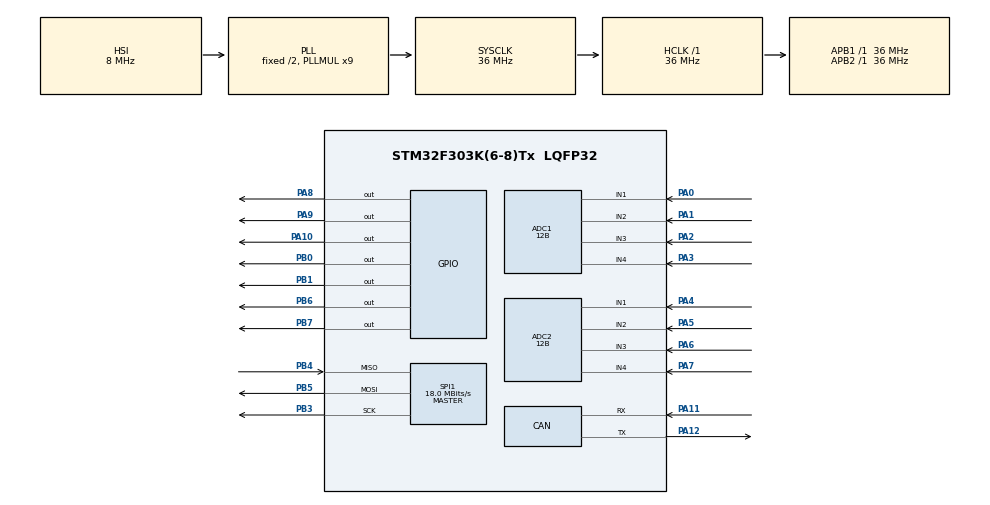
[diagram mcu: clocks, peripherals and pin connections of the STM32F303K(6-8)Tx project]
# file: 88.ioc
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ADC1.Channel-0\#ChannelRegularConversion=ADC_CHANNEL_1
ADC1.ClockPrescaler=ADC_CLOCK_SYNC_PCLK_DIV2
ADC1.ContinuousConvMode=DISABLE
ADC1.DMAContinuousRequests=DISABLE
ADC1.DataAlign=ADC_DATAALIGN_RIGHT
ADC1.DiscontinuousConvMode=DISABLE
ADC1.EOCSelection=ADC_EOC_SINGLE_CONV
ADC1.EnableAnalogWatchDog1=false
ADC1.EnableAnalogWatchDog2=false
ADC1.EnableAnalogWatchDog3=false
ADC1.EnableInjectedConversion=ENABLE
ADC1.EnableRegularConversion=ENABLE
ADC1.ExternalTrigConv=ADC_SOFTWARE_START
ADC1.ExternalTrigConvEdge=ADC_EXTERNALTRIGCONVEDGE_NONE
ADC1.ExternalTrigInjecConv=ADC_INJECTED_SOFTWARE_START
ADC1.ExternalTrigInjecConvEdge=ADC_EXTERNALTRIGINJECCONV_EDGE_NONE
ADC1.InjNumberOfConversion=4
ADC1.InjectedChannel-4\#ChannelInjectedConversion=ADC_CHANNEL_1
ADC1.InjectedChannel-5\#ChannelInjectedConversion=ADC_CHANNEL_2
ADC1.InjectedChannel-6\#ChannelInjectedConversion=ADC_CHANNEL_3
ADC1.InjectedChannel-8\#ChannelInjectedConversion=ADC_CHANNEL_4
ADC1.InjectedConvMode=None
ADC1.InjectedOffset-4\#ChannelInjectedConversion=0
ADC1.InjectedOffset-5\#ChannelInjectedConversion=0
ADC1.InjectedOffset-6\#ChannelInjectedConversion=0
ADC1.InjectedOffset-8\#ChannelInjectedConversion=0
ADC1.InjectedOffsetNumber-4\#ChannelInjectedConversion=ADC_OFFSET_NONE
ADC1.InjectedOffsetNumber-5\#ChannelInjectedConversion=ADC_OFFSET_NONE
ADC1.InjectedOffsetNumber-6\#ChannelInjectedConversion=ADC_OFFSET_NONE
ADC1.InjectedOffsetNumber-8\#ChannelInjectedConversion=ADC_OFFSET_NONE
ADC1.InjectedRank-4\#ChannelInjectedConversion=1
ADC1.InjectedRank-5\#ChannelInjectedConversion=2
ADC1.InjectedRank-6\#ChannelInjectedConversion=3
ADC1.InjectedRank-8\#ChannelInjectedConversion=4
ADC1.InjectedSamplingTime-4\#ChannelInjectedConversion=ADC_SAMPLETIME_1CYCLE_5
ADC1.InjectedSamplingTime-5\#ChannelInjectedConversion=ADC_SAMPLETIME_1CYCLE_5
ADC1.InjectedSamplingTime-6\#ChannelInjectedConversion=ADC_SAMPLETIME_1CYCLE_5
ADC1.InjectedSamplingTime-8\#ChannelInjectedConversion=ADC_SAMPLETIME_1CYCLE_5
ADC1.LowPowerAutoWait=DISABLE
ADC1.NbrOfConversion=1
ADC1.NbrOfConversionFlag=1
ADC1.Offset-0\#ChannelRegularConversion=0
ADC1.OffsetNumber-0\#ChannelRegularConversion=ADC_OFFSET_NONE
ADC1.Overrun=ADC_OVR_DATA_OVERWRITTEN
ADC1.QueueInjectedContext=DISABLE
ADC1.Rank-0\#ChannelRegularConversion=1
ADC1.Resolution=ADC_RESOLUTION_12B
ADC1.SamplingTime-0\#ChannelRegularConversion=ADC_SAMPLETIME_1CYCLE_5
ADC1.ScanConvMode=ADC_SCAN_ENABLE
ADC1.SubFamily=STM32F303x8
ADC1.master=1
ADC2.Channel-0\#ChannelRegularConversion=ADC_CHANNEL_1
ADC2.ClockPrescaler=ADC_CLOCK_SYNC_PCLK_DIV2
ADC2.ContinuousConvMode=DISABLE
ADC2.DMAContinuousRequests=DISABLE
ADC2.DataAlign=ADC_DATAALIGN_RIGHT
ADC2.DiscontinuousConvMode=DISABLE
ADC2.EOCSelection=ADC_EOC_SINGLE_CONV
ADC2.EnableAnalogWatchDog1=false
ADC2.EnableAnalogWatchDog2=false
ADC2.EnableAnalogWatchDog3=false
ADC2.EnableInjectedConversion=ENABLE
ADC2.EnableRegularConversion=ENABLE
ADC2.ExternalTrigConv=ADC_SOFTWARE_START
ADC2.ExternalTrigConvEdge=ADC_EXTERNALTRIGCONVEDGE_NONE
ADC2.ExternalTrigInjecConv=ADC_INJECTED_SOFTWARE_START
ADC2.ExternalTrigInjecConvEdge=ADC_EXTERNALTRIGINJECCONV_EDGE_NONE
ADC2.InjNumberOfConversion=4
ADC2.InjectedChannel-1\#ChannelInjectedConversion=ADC_CHANNEL_1
ADC2.InjectedChannel-2\#ChannelInjectedConversion=ADC_CHANNEL_2
ADC2.InjectedChannel-3\#ChannelInjectedConversion=ADC_CHANNEL_3
ADC2.InjectedChannel-5\#ChannelInjectedConversion=ADC_CHANNEL_4
ADC2.InjectedConvMode=None
ADC2.InjectedOffset-1\#ChannelInjectedConversion=0
ADC2.InjectedOffset-2\#ChannelInjectedConversion=0
ADC2.InjectedOffset-3\#ChannelInjectedConversion=0
ADC2.InjectedOffset-5\#ChannelInjectedConversion=0
ADC2.InjectedOffsetNumber-1\#ChannelInjectedConversion=ADC_OFFSET_NONE
ADC2.InjectedOffsetNumber-2\#ChannelInjectedConversion=ADC_OFFSET_NONE
ADC2.InjectedOffsetNumber-3\#ChannelInjectedConversion=ADC_OFFSET_NONE
ADC2.InjectedOffsetNumber-5\#ChannelInjectedConversion=ADC_OFFSET_NONE
ADC2.InjectedRank-1\#ChannelInjectedConversion=1
ADC2.InjectedRank-2\#ChannelInjectedConversion=2
ADC2.InjectedRank-3\#ChannelInjectedConversion=3
ADC2.InjectedRank-5\#ChannelInjectedConversion=4
ADC2.InjectedSamplingTime-1\#ChannelInjectedConversion=ADC_SAMPLETIME_1CYCLE_5
ADC2.InjectedSamplingTime-2\#ChannelInjectedConversion=ADC_SAMPLETIME_1CYCLE_5
ADC2.InjectedSamplingTime-3\#ChannelInjectedConversion=ADC_SAMPLETIME_1CYCLE_5
ADC2.InjectedSamplingTime-5\#ChannelInjectedConversion=ADC_SAMPLETIME_1CYCLE_5
ADC2.LowPowerAutoWait=DISABLE
ADC2.NbrOfConversion=1
ADC2.NbrOfConversionFlag=1
ADC2.Offset-0\#ChannelRegularConversion=0
ADC2.OffsetNumber-0\#ChannelRegularConversion=ADC_OFFSET_NONE
ADC2.Overrun=ADC_OVR_DATA_OVERWRITTEN
ADC2.QueueInjectedContext=DISABLE
ADC2.Rank-0\#ChannelRegularConversion=1
ADC2.Resolution=ADC_RESOLUTION_12B
ADC2.SamplingTime-0\#ChannelRegularConversion=ADC_SAMPLETIME_1CYCLE_5
ADC2.ScanConvMode=ADC_SCAN_ENABLE
ADC2.SubFamily=STM32F303x8
CAN.CalculateTimeQuantum=444.44444444444446
Mcu.Family=STM32F3
Mcu.Name=STM32F303K(6-8)Tx
Mcu.Package=LQFP32
NVIC.PriorityGroup=NVIC_PRIORITYGROUP_4
PA0.Mode=IN1-Single-Ended
PA0.Signal=ADC1_IN1
PA1.Mode=IN2-Single-Ended
PA1.Signal=ADC1_IN2
PA10.Signal=GPIO_Output
PA11.Mode=Master
PA11.Signal=CAN_RX
PA12.Mode=Master
PA12.Signal=CAN_TX
PA13.Mode=Serial_Wire
PA13.Signal=SYS_JTMS-SWDIO
PA14.Mode=Serial_Wire
PA14.Signal=SYS_JTCK-SWCLK
PA2.Mode=IN3-Single-Ended
PA2.Signal=ADC1_IN3
PA3.Mode=IN4-Single-Ended
PA3.Signal=ADC1_IN4
PA4.Mode=IN1-Single-Ended
PA4.Signal=ADC2_IN1
PA5.Mode=IN2-Single-Ended
PA5.Signal=ADC2_IN2
PA6.Mode=IN3-Single-Ended
PA6.Signal=ADC2_IN3
PA7.Mode=IN4-Single-Ended
PA7.Signal=ADC2_IN4
PA8.Signal=GPIO_Output
PA9.Signal=GPIO_Output
PB0.Signal=GPIO_Output
PB1.Signal=GPIO_Output
PB3.Mode=Full_Duplex_Master
PB3.Signal=SPI1_SCK
PB4.Mode=Full_Duplex_Master
PB4.Signal=SPI1_MISO
PB5.Mode=Full_Duplex_Master
PB5.Signal=SPI1_MOSI
PB6.Signal=GPIO_Output
PB7.Signal=GPIO_Output
PF0\ /\ OSC_IN.Mode=HSE-External-Clock-Source
PF0\ /\ OSC_IN.Signal=RCC_OSC_IN
ProjectManager.HeapSize=0x200
ProjectManager.StackSize=0x400
ProjectManager.TargetToolchain=MDK-ARM V5
RCC.AHBFreq_Value=36000000
RCC.APB1Freq_Value=36000000
RCC.APB1TimFreq_Value=36000000
RCC.APB2Freq_Value=36000000
RCC.APB2TimFreq_Value=36000000
RCC.CortexFreq_Value=36000000
RCC.HCLKFreq_Value=36000000
RCC.HSE_VALUE=8000000
RCC.HSI_VALUE=8000000
RCC.PLLMUL=RCC_PLL_MUL9
RCC.SYSCLKFreq_VALUE=36000000
RCC.SYSCLKSourceVirtual=RCC_SYSCLKSOURCE_PLLCLK
SPI1.BaudRatePrescaler=SPI_BAUDRATEPRESCALER_2
SPI1.CalculateBaudRate=18.0 MBits/s
SPI1.DataSize=SPI_DATASIZE_16BIT
SPI1.Direction=SPI_DIRECTION_2LINES
SPI1.Mode=SPI_MODE_MASTER
SPI1.VirtualType=VM_MASTER
VP_TIM1_VS_ClockSourceINT.Mode=Internal
VP_TIM2_VS_ClockSourceINT.Mode=Internal
board=custom

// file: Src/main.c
/**
  ******************************************************************************
  * @file           : main.c
  * @brief          : Main program body
  ******************************************************************************
  ** This notice applies to any and all portions of this file
  * that are not between comment pairs USER CODE BEGIN and
  * USER CODE END. Other portions of this file, whether
  * inserted by the user or by software development tools
  * are owned by their respective copyright owners.
  *
  * COPYRIGHT(c) 2018 STMicroelectronics
  *
  * Redistribution and use in source and binary forms, with or without modification,
  * are permitted provided that the following conditions are met:
  *   1. Redistributions of source code must retain the above copyright notice,
  *      this list of conditions and the following disclaimer.
  *   2. Redistributions in binary form must reproduce the above copyright notice,
  *      this list of conditions and the following disclaimer in the documentation
  *      and/or other materials provided with the distribution.
  *   3. Neither the name of STMicroelectronics nor the names of its contributors
  *      may be used to endorse or promote products derived from this software
  *      without specific prior written permission.
  *
  * THIS SOFTWARE IS PROVIDED BY THE COPYRIGHT HOLDERS AND CONTRIBUTORS "AS IS"
  * AND ANY EXPRESS OR IMPLIED WARRANTIES, INCLUDING, BUT NOT LIMITED TO, THE
  * IMPLIED WARRANTIES OF MERCHANTABILITY AND FITNESS FOR A PARTICULAR PURPOSE ARE
  * DISCLAIMED. IN NO EVENT SHALL THE COPYRIGHT HOLDER OR CONTRIBUTORS BE LIABLE
  * FOR ANY DIRECT, INDIRECT, INCIDENTAL, SPECIAL, EXEMPLARY, OR CONSEQUENTIAL
  * DAMAGES (INCLUDING, BUT NOT LIMITED TO, PROCUREMENT OF SUBSTITUTE GOODS OR
  * SERVICES; LOSS OF USE, DATA, OR PROFITS; OR BUSINESS INTERRUPTION) HOWEVER
  * CAUSED AND ON ANY THEORY OF LIABILITY, WHETHER IN CONTRACT, STRICT LIABILITY,
  * OR TORT (INCLUDING NEGLIGENCE OR OTHERWISE) ARISING IN ANY WAY OUT OF THE USE
  * OF THIS SOFTWARE, EVEN IF ADVISED OF THE POSSIBILITY OF SUCH DAMAGE.
  *
  ******************************************************************************
  */
#include "main.h"
#include "stm32f3xx_hal.h"

ADC_HandleTypeDef hadc1;
ADC_HandleTypeDef hadc2;

CAN_HandleTypeDef hcan;

SPI_HandleTypeDef hspi1;

TIM_HandleTypeDef htim1;
TIM_HandleTypeDef htim2;

/* USER CODE BEGIN PV */
/* Private variables ---------------------------------------------------------*/

/* USER CODE END PV */

void SystemClock_Config(void);
static void MX_GPIO_Init(void);
static void MX_ADC1_Init(void);
static void MX_ADC2_Init(void);
static void MX_TIM1_Init(void);
static void MX_CAN_Init(void);
static void MX_SPI1_Init(void);
static void MX_TIM2_Init(void);

void CS_SELECT1(void);
void CS_DESELECT1(void);
void Read_MAX318551(void);

void CS_SELECT2(void);
void CS_DESELECT2(void);
void Read_MAX318552(void);

void CS_SELECT3(void);
void CS_DESELECT3(void);
void Read_MAX318553(void);

void CS_SELECT4(void);
void CS_DESELECT4(void);
void Read_MAX318554(void);

/* USER CODE BEGIN PFP */
/* Private function prototypes -----------------------------------------------*/
static CanTxMsgTypeDef myTxMessage;

uint32_t v=0;
uint32_t v1=0;
uint32_t v2=0;
uint32_t v3=0;

long internal=0;
long centigrade=0;
long internal1=0;
long centigrade1=0;
long internal3=0;
long centigrade3=0;
long centigrade4=0;
long internal4=0;

uint16_t data1[4];
uint16_t data2[4];
uint16_t data3[4];
uint16_t data4[4];

float a[8]={0};

unsigned short number1;
unsigned short number;
unsigned short number3;
unsigned short number4;

char upper1;
char lower1;
char upper;
char lower;
char upper3;
char lower3;
char upper4;
char lower4;
/* USER CODE END PFP */

/* USER CODE BEGIN 0 */
void CS_SELECT1(void)
{
  HAL_GPIO_WritePin(GPIOB, GPIO_PIN_0, RESET); //b1
  HAL_GPIO_WritePin(GPIOB, GPIO_PIN_1, SET);   //b2
  HAL_GPIO_WritePin(GPIOB, GPIO_PIN_7, SET);   //b3
  HAL_GPIO_WritePin(GPIOB, GPIO_PIN_6, SET);   //b4
}

void CS_SELECT2(void)
{
  HAL_GPIO_WritePin(GPIOB, GPIO_PIN_0, SET);   //b1
  HAL_GPIO_WritePin(GPIOB, GPIO_PIN_1, RESET); //b2
  HAL_GPIO_WritePin(GPIOB, GPIO_PIN_7, SET);   //b3
  HAL_GPIO_WritePin(GPIOB, GPIO_PIN_6, SET);   //b4
}

void CS_SELECT3(void)
{
  HAL_GPIO_WritePin(GPIOB, GPIO_PIN_0, SET);   //b1
  HAL_GPIO_WritePin(GPIOB, GPIO_PIN_1, SET);   //b2
  HAL_GPIO_WritePin(GPIOB, GPIO_PIN_7, RESET); //b3
  HAL_GPIO_WritePin(GPIOB, GPIO_PIN_6, SET);   //b4
}

void CS_SELECT4(void)
{
  HAL_GPIO_WritePin(GPIOB, GPIO_PIN_0, SET);   //b1
  HAL_GPIO_WritePin(GPIOB, GPIO_PIN_1, SET);   //b2
  HAL_GPIO_WritePin(GPIOB, GPIO_PIN_7, SET);   //b3
  HAL_GPIO_WritePin(GPIOB, GPIO_PIN_6, RESET); //b4
}

void CS_DESELECT1(void)
{
  HAL_GPIO_WritePin(GPIOB, GPIO_PIN_0, SET);  //b1
}

void CS_DESELECT2(void)
{
  HAL_GPIO_WritePin(GPIOB, GPIO_PIN_1, SET); //b2
}

void CS_DESELECT3(void)
{
  HAL_GPIO_WritePin(GPIOB, GPIO_PIN_7, SET); //b3
}

void CS_DESELECT4(void)
{
  HAL_GPIO_WritePin(GPIOB, GPIO_PIN_6, SET); //b4
}

void Read_MAX318551(void)
{
  HAL_SPI_Receive(&hspi1, (uint8_t *)&data1[0], 4, 100);
}

void Read_MAX318552(void)
{
  HAL_SPI_Receive(&hspi1, (uint8_t *)&data2[0], 4, 100);
}

void Read_MAX318553(void)
{
  HAL_SPI_Receive(&hspi1, (uint8_t *)&data3[0], 4, 100);
}

void Read_MAX318554(void)
{
  HAL_SPI_Receive(&hspi1, (uint8_t *)&data4[0], 4, 100);
}
/* USER CODE END 0 */

int main(void)
{

  /* MCU Configuration----------------------------------------------------------*/

  /* Reset of all peripherals, Initializes the Flash interface and the Systick. */
  HAL_Init();

  /* Configure the system clock */
  SystemClock_Config();

  /* Initialize all configured peripherals */
  MX_GPIO_Init();
  MX_ADC1_Init();
  MX_ADC2_Init();
  MX_TIM1_Init();
  MX_CAN_Init();
  MX_SPI1_Init();
  MX_TIM2_Init();
  /* USER CODE BEGIN 2 */

  hcan.pTxMsg = &myTxMessage;
  myTxMessage.DLC = 4;
  myTxMessage.StdId = 0x234;
  myTxMessage.IDE = CAN_ID_STD;
	HAL_CAN_Transmit_IT(&hcan);

	myTxMessage.DLC = 8;
  myTxMessage.ExtId = 0x007;//0x14F00500;
  myTxMessage.IDE = CAN_ID_EXT;

  /* USER CODE END 2 */
  HAL_GPIO_WritePin(GPIOB, GPIO_PIN_0, SET);  //b1
  HAL_GPIO_WritePin(GPIOB, GPIO_PIN_1, SET); //b2
  HAL_GPIO_WritePin(GPIOB, GPIO_PIN_7, SET); //b3
  HAL_GPIO_WritePin(GPIOB, GPIO_PIN_6, SET); //b4
  /* Infinite loop */
  /* USER CODE BEGIN WHILE */
  while (1)
  {
  //1
	 CS_SELECT1();
	 HAL_Delay(5);
	 Read_MAX318551();
   HAL_Delay(5);
   CS_DESELECT1();
  //2
	 CS_SELECT2();
	 HAL_Delay(5);
	 Read_MAX318552();
   HAL_Delay(5);
   CS_DESELECT2();
  //3
	 CS_SELECT3();
	 HAL_Delay(5);
	 Read_MAX318553();
   HAL_Delay(5);
   CS_DESELECT3();
  //4
   CS_SELECT4();
   HAL_Delay(5);
   Read_MAX318554();
   HAL_Delay(5);
   CS_DESELECT4();

	      //DA1
 	  		  v1=(data1[0]<<16)|data1[1];
	  		  internal1 = (v1 >> 4) & 0x7FF;
	  	      internal1 *= 0.0625;
	  	      if ((v >> 4) & 0x800)
	  	      internal1 *= -1;
	  	      if (v & 0x80000000)
	  	      {
	  	        v = 0xFFFFC000 | ((v >> 18) & 0x00003FFFF);
	  	      }
	  		  else
	  		  {
	  			  v1 >>= 18;
	  		  }
	  		  centigrade1 = v1;
	  		  centigrade1 *= (-0.25);
	  		  if (centigrade1 < 0) {
				   centigrade1 = 0;
			  }
          //printf("ineternal: %f couple: %f . \r \n",internal,centigrade);

//DA2
	  	    v=(data2[0]<<16)|data2[1];
	  	    internal = (v >> 4) & 0x7FF;
	  	      internal *= 0.0625;
	  	      if ((v >> 4) & 0x800)
	  	    	  internal *= -1;
	  	      if (v & 0x80000000)
	  	      {
	  	        v = 0xFFFFC000 | ((v >> 18) & 0x00003FFFF);
	  	      }
	  	      else
	  	      {
	  	        v >>= 18;
	  	      }
	  	   centigrade = v;
	  	   centigrade *= (-0.25);
	  	   if (centigrade < 0) {
	  		   centigrade = 0;
	  	   }

           //printf("ineternal: %f couple: %f . \r \n",internal,centigrade);

//DA3
		  	    v2=(data3[0]<<16)|data3[1];
		  	    internal3 = (v2 >> 4) & 0x7FF;
		  	      internal3 *= 0.0625;
		  	      if ((v2 >> 4) & 0x800)
		  	      internal3 *= -1;
		  	      if (v2 & 0x80000000)
		  	      {
		  	        v2 = 0xFFFFC000 | ((v2 >> 18) & 0x00003FFFF);
		  	      }
		  	      else
		  	      {
		  	        v2 >>= 18;
		  	      }
		  	    centigrade3 = v2;
		  	    centigrade3 *= (-0.25);
		   	   if (centigrade3 < 0) {
		 	  		   centigrade3 = 0;
		 	  	   }
           //printf("ineternal: %f couple: %f . \r \n",internal,centigrade);

//DA4
		  	    v3=(data4[0]<<16)|data4[1];
				internal4 = (v3 >> 4) & 0x7FF;
				internal4 *= 0.0625;
				if ((v3 >> 4) & 0x800)
				  internal4 *= -1;
				if (v3 & 0x80000000)
				{
				  v3 = 0xFFFFC000 | ((v3 >> 18) & 0x00003FFFF);
				}
				  else
				{
				  v3 >>= 18;
				}
				  centigrade4 = v3;
				  centigrade4 *= (-0.25);
			   if (centigrade4 < 0) {
					   centigrade4 = 0;
				   }
        //printf("ineternal: %f couple: %f . \r \n",internal,centigrade);
				  HAL_Delay(500);
					//centigrade1
					 number1 = centigrade1;
				   upper1 = (char) (number1 >> 8);
           lower1 = (char) (number1 & 0xff);
					 HAL_Delay(5);
					//centigrade
					 number = centigrade1;
				   upper = (char) (number1 >> 8);
           lower = (char) (number1 & 0xff);
					 HAL_Delay(5);
					//centigrade3
					 number3 = centigrade1;
				   upper3 = (char) (number1 >> 8);
           lower3 = (char) (number1 & 0xff);
					 HAL_Delay(5);
					//centigrade4
					 number4 = centigrade1;
				   upper4 = (char) (number1 >> 8);
           lower4 = (char) (number1 & 0xff);
					 HAL_Delay(5);

					   myTxMessage.Data[0] = upper1;
	           myTxMessage.Data[1] = lower1;
	           myTxMessage.Data[2] = upper;
	           myTxMessage.Data[3] = lower;
	           myTxMessage.Data[4] = upper3;
	           myTxMessage.Data[5] = lower3;
	           myTxMessage.Data[6] = upper4;
	           myTxMessage.Data[7] = lower4;
					HAL_CAN_Transmit(&hcan, CAN_FIFO0);

  /* USER CODE END WHILE */

  }

}

void SystemClock_Config(void)
{

  RCC_OscInitTypeDef RCC_OscInitStruct;
  RCC_ClkInitTypeDef RCC_ClkInitStruct;
  RCC_PeriphCLKInitTypeDef PeriphClkInit;

    /**Initializes the CPU, AHB and APB busses clocks
    */
  RCC_OscInitStruct.OscillatorType = RCC_OSCILLATORTYPE_HSI;
  RCC_OscInitStruct.HSIState = RCC_HSI_ON;
  RCC_OscInitStruct.HSICalibrationValue = 16;
  RCC_OscInitStruct.PLL.PLLState = RCC_PLL_ON;
  RCC_OscInitStruct.PLL.PLLSource = RCC_PLLSOURCE_HSI;
  RCC_OscInitStruct.PLL.PLLMUL = RCC_PLL_MUL9;
  if (HAL_RCC_OscConfig(&RCC_OscInitStruct) != HAL_OK)
  {
    _Error_Handler(__FILE__, __LINE__);
  }

    /**Initializes the CPU, AHB and APB busses clocks
    */
  RCC_ClkInitStruct.ClockType = RCC_CLOCKTYPE_HCLK|RCC_CLOCKTYPE_SYSCLK
                              |RCC_CLOCKTYPE_PCLK1|RCC_CLOCKTYPE_PCLK2;
  RCC_ClkInitStruct.SYSCLKSource = RCC_SYSCLKSOURCE_PLLCLK;
  RCC_ClkInitStruct.AHBCLKDivider = RCC_SYSCLK_DIV1;
  RCC_ClkInitStruct.APB1CLKDivider = RCC_HCLK_DIV1;
  RCC_ClkInitStruct.APB2CLKDivider = RCC_HCLK_DIV1;

  if (HAL_RCC_ClockConfig(&RCC_ClkInitStruct, FLASH_LATENCY_1) != HAL_OK)
  {
    _Error_Handler(__FILE__, __LINE__);
  }

  PeriphClkInit.PeriphClockSelection = RCC_PERIPHCLK_TIM1;
  PeriphClkInit.Tim1ClockSelection = RCC_TIM1CLK_HCLK;
  if (HAL_RCCEx_PeriphCLKConfig(&PeriphClkInit) != HAL_OK)
  {
    _Error_Handler(__FILE__, __LINE__);
  }

    /**Configure the Systick interrupt time
    */
  HAL_SYSTICK_Config(HAL_RCC_GetHCLKFreq()/1000);

    /**Configure the Systick
    */
  HAL_SYSTICK_CLKSourceConfig(SYSTICK_CLKSOURCE_HCLK);

  /* SysTick_IRQn interrupt configuration */
  HAL_NVIC_SetPriority(SysTick_IRQn, 0, 0);
}

/* ADC1 init function */
static void MX_ADC1_Init(void)
{

  ADC_MultiModeTypeDef multimode;
  ADC_ChannelConfTypeDef sConfig;
  ADC_InjectionConfTypeDef sConfigInjected;

    /**Common config
    */
  hadc1.Instance = ADC1;
  hadc1.Init.ClockPrescaler = ADC_CLOCK_SYNC_PCLK_DIV2;
  hadc1.Init.Resolution = ADC_RESOLUTION_12B;
  hadc1.Init.ScanConvMode = ADC_SCAN_ENABLE;
  hadc1.Init.ContinuousConvMode = DISABLE;
  hadc1.Init.DiscontinuousConvMode = DISABLE;
  hadc1.Init.ExternalTrigConvEdge = ADC_EXTERNALTRIGCONVEDGE_NONE;
  hadc1.Init.ExternalTrigConv = ADC_SOFTWARE_START;
  hadc1.Init.DataAlign = ADC_DATAALIGN_RIGHT;
  hadc1.Init.NbrOfConversion = 1;
  hadc1.Init.DMAContinuousRequests = DISABLE;
  hadc1.Init.EOCSelection = ADC_EOC_SINGLE_CONV;
  hadc1.Init.LowPowerAutoWait = DISABLE;
  hadc1.Init.Overrun = ADC_OVR_DATA_OVERWRITTEN;
  if (HAL_ADC_Init(&hadc1) != HAL_OK)
  {
    _Error_Handler(__FILE__, __LINE__);
  }

    /**Configure the ADC multi-mode
    */
  multimode.Mode = ADC_MODE_INDEPENDENT;
  if (HAL_ADCEx_MultiModeConfigChannel(&hadc1, &multimode) != HAL_OK)
  {
    _Error_Handler(__FILE__, __LINE__);
  }

    /**Configure Regular Channel
    */
  sConfig.Channel = ADC_CHANNEL_1;
  sConfig.Rank = ADC_REGULAR_RANK_1;
  sConfig.SingleDiff = ADC_SINGLE_ENDED;
  sConfig.SamplingTime = ADC_SAMPLETIME_1CYCLE_5;
  sConfig.OffsetNumber = ADC_OFFSET_NONE;
  sConfig.Offset = 0;
  if (HAL_ADC_ConfigChannel(&hadc1, &sConfig) != HAL_OK)
  {
    _Error_Handler(__FILE__, __LINE__);
  }

    /**Configure Injected Channel
    */
  sConfigInjected.InjectedChannel = ADC_CHANNEL_1;
  sConfigInjected.InjectedRank = ADC_INJECTED_RANK_1;
  sConfigInjected.InjectedSingleDiff = ADC_SINGLE_ENDED;
  sConfigInjected.InjectedNbrOfConversion = 4;
  sConfigInjected.InjectedSamplingTime = ADC_SAMPLETIME_1CYCLE_5;
  sConfigInjected.ExternalTrigInjecConvEdge = ADC_EXTERNALTRIGINJECCONV_EDGE_NONE;
  sConfigInjected.ExternalTrigInjecConv = ADC_INJECTED_SOFTWARE_START;
  sConfigInjected.AutoInjectedConv = DISABLE;
  sConfigInjected.InjectedDiscontinuousConvMode = DISABLE;
  sConfigInjected.QueueInjectedContext = DISABLE;
  sConfigInjected.InjectedOffset = 0;
  sConfigInjected.InjectedOffsetNumber = ADC_OFFSET_NONE;
  if (HAL_ADCEx_InjectedConfigChannel(&hadc1, &sConfigInjected) != HAL_OK)
  {
    _Error_Handler(__FILE__, __LINE__);
  }

    /**Configure Injected Channel
    */
  sConfigInjected.InjectedChannel = ADC_CHANNEL_2;
  sConfigInjected.InjectedRank = ADC_INJECTED_RANK_2;
  if (HAL_ADCEx_InjectedConfigChannel(&hadc1, &sConfigInjected) != HAL_OK)
  {
    _Error_Handler(__FILE__, __LINE__);
  }

    /**Configure Injected Channel
    */
  sConfigInjected.InjectedChannel = ADC_CHANNEL_3;
  sConfigInjected.InjectedRank = ADC_INJECTED_RANK_3;
  if (HAL_ADCEx_InjectedConfigChannel(&hadc1, &sConfigInjected) != HAL_OK)
  {
    _Error_Handler(__FILE__, __LINE__);
  }

    /**Configure Injected Channel
    */
  sConfigInjected.InjectedChannel = ADC_CHANNEL_4;
  sConfigInjected.InjectedRank = ADC_INJECTED_RANK_4;
  if (HAL_ADCEx_InjectedConfigChannel(&hadc1, &sConfigInjected) != HAL_OK)
  {
    _Error_Handler(__FILE__, __LINE__);
  }

}

/* ADC2 init function */
static void MX_ADC2_Init(void)
{

  ADC_ChannelConfTypeDef sConfig;
  ADC_InjectionConfTypeDef sConfigInjected;

    /**Common config
    */
  hadc2.Instance = ADC2;
  hadc2.Init.ClockPrescaler = ADC_CLOCK_SYNC_PCLK_DIV2;
  hadc2.Init.Resolution = ADC_RESOLUTION_12B;
  hadc2.Init.ScanConvMode = ADC_SCAN_ENABLE;
  hadc2.Init.ContinuousConvMode = DISABLE;
  hadc2.Init.DiscontinuousConvMode = DISABLE;
  hadc2.Init.ExternalTrigConvEdge = ADC_EXTERNALTRIGCONVEDGE_NONE;
  hadc2.Init.ExternalTrigConv = ADC_SOFTWARE_START;
  hadc2.Init.DataAlign = ADC_DATAALIGN_RIGHT;
  hadc2.Init.NbrOfConversion = 1;
  hadc2.Init.DMAContinuousRequests = DISABLE;
  hadc2.Init.EOCSelection = ADC_EOC_SINGLE_CONV;
  hadc2.Init.LowPowerAutoWait = DISABLE;
  hadc2.Init.Overrun = ADC_OVR_DATA_OVERWRITTEN;
  if (HAL_ADC_Init(&hadc2) != HAL_OK)
  {
    _Error_Handler(__FILE__, __LINE__);
  }

    /**Configure Regular Channel
    */
  sConfig.Channel = ADC_CHANNEL_1;
  sConfig.Rank = ADC_REGULAR_RANK_1;
  sConfig.SingleDiff = ADC_SINGLE_ENDED;
  sConfig.SamplingTime = ADC_SAMPLETIME_1CYCLE_5;
  sConfig.OffsetNumber = ADC_OFFSET_NONE;
  sConfig.Offset = 0;
  if (HAL_ADC_ConfigChannel(&hadc2, &sConfig) != HAL_OK)
  {
    _Error_Handler(__FILE__, __LINE__);
  }

    /**Configure Injected Channel
    */
  sConfigInjected.InjectedChannel = ADC_CHANNEL_1;
  sConfigInjected.InjectedRank = ADC_INJECTED_RANK_1;
  sConfigInjected.InjectedSingleDiff = ADC_SINGLE_ENDED;
  sConfigInjected.InjectedNbrOfConversion = 4;
  sConfigInjected.InjectedSamplingTime = ADC_SAMPLETIME_1CYCLE_5;
  sConfigInjected.ExternalTrigInjecConvEdge = ADC_EXTERNALTRIGINJECCONV_EDGE_NONE;
  sConfigInjected.ExternalTrigInjecConv = ADC_INJECTED_SOFTWARE_START;
  sConfigInjected.AutoInjectedConv = DISABLE;
  sConfigInjected.InjectedDiscontinuousConvMode = DISABLE;
  sConfigInjected.QueueInjectedContext = DISABLE;
  sConfigInjected.InjectedOffset = 0;
  sConfigInjected.InjectedOffsetNumber = ADC_OFFSET_NONE;
  if (HAL_ADCEx_InjectedConfigChannel(&hadc2, &sConfigInjected) != HAL_OK)
  {
    _Error_Handler(__FILE__, __LINE__);
  }

    /**Configure Injected Channel
    */
  sConfigInjected.InjectedChannel = ADC_CHANNEL_2;
  sConfigInjected.InjectedRank = ADC_INJECTED_RANK_2;
  if (HAL_ADCEx_InjectedConfigChannel(&hadc2, &sConfigInjected) != HAL_OK)
  {
    _Error_Handler(__FILE__, __LINE__);
  }

    /**Configure Injected Channel
    */
  sConfigInjected.InjectedChannel = ADC_CHANNEL_3;
  sConfigInjected.InjectedRank = ADC_INJECTED_RANK_3;
  if (HAL_ADCEx_InjectedConfigChannel(&hadc2, &sConfigInjected) != HAL_OK)
  {
    _Error_Handler(__FILE__, __LINE__);
  }

    /**Configure Injected Channel
    */
  sConfigInjected.InjectedChannel = ADC_CHANNEL_4;
  sConfigInjected.InjectedRank = ADC_INJECTED_RANK_4;
  if (HAL_ADCEx_InjectedConfigChannel(&hadc2, &sConfigInjected) != HAL_OK)
  {
    _Error_Handler(__FILE__, __LINE__);
  }

}

/* CAN init function */
static void MX_CAN_Init(void)
{

  hcan.Instance = CAN;
  hcan.Init.Prescaler = 16;
  hcan.Init.Mode = CAN_MODE_NORMAL;
  hcan.Init.SJW = CAN_SJW_1TQ;
  hcan.Init.BS1 = CAN_BS1_1TQ;
  hcan.Init.BS2 = CAN_BS2_1TQ;
  hcan.Init.TTCM = DISABLE;
  hcan.Init.ABOM = DISABLE;
  hcan.Init.AWUM = DISABLE;
  hcan.Init.NART = DISABLE;
  hcan.Init.RFLM = DISABLE;
  hcan.Init.TXFP = DISABLE;
  if (HAL_CAN_Init(&hcan) != HAL_OK)
  {
    _Error_Handler(__FILE__, __LINE__);
  }

}

/* SPI1 init function */
static void MX_SPI1_Init(void)
{

  /* SPI1 parameter configuration*/
  hspi1.Instance = SPI1;
  hspi1.Init.Mode = SPI_MODE_MASTER;
  hspi1.Init.Direction = SPI_DIRECTION_2LINES;
  hspi1.Init.DataSize = SPI_DATASIZE_16BIT;
  hspi1.Init.CLKPolarity = SPI_POLARITY_LOW;
  hspi1.Init.CLKPhase = SPI_PHASE_1EDGE;
  hspi1.Init.NSS = SPI_NSS_SOFT;
  hspi1.Init.BaudRatePrescaler = SPI_BAUDRATEPRESCALER_2;
  hspi1.Init.FirstBit = SPI_FIRSTBIT_MSB;
  hspi1.Init.TIMode = SPI_TIMODE_DISABLE;
  hspi1.Init.CRCCalculation = SPI_CRCCALCULATION_DISABLE;
  hspi1.Init.CRCPolynomial = 7;
  hspi1.Init.CRCLength = SPI_CRC_LENGTH_DATASIZE;
  hspi1.Init.NSSPMode = SPI_NSS_PULSE_ENABLE;
  if (HAL_SPI_Init(&hspi1) != HAL_OK)
  {
    _Error_Handler(__FILE__, __LINE__);
  }

}

/* TIM1 init function */
static void MX_TIM1_Init(void)
{

  TIM_ClockConfigTypeDef sClockSourceConfig;
  TIM_MasterConfigTypeDef sMasterConfig;

  htim1.Instance = TIM1;
  htim1.Init.Prescaler = 0;
  htim1.Init.CounterMode = TIM_COUNTERMODE_UP;
  htim1.Init.Period = 0;
  htim1.Init.ClockDivision = TIM_CLOCKDIVISION_DIV1;
  htim1.Init.RepetitionCounter = 0;
  htim1.Init.AutoReloadPreload = TIM_AUTORELOAD_PRELOAD_DISABLE;
  if (HAL_TIM_Base_Init(&htim1) != HAL_OK)
  {
    _Error_Handler(__FILE__, __LINE__);
  }

  sClockSourceConfig.ClockSource = TIM_CLOCKSOURCE_INTERNAL;
  if (HAL_TIM_ConfigClockSource(&htim1, &sClockSourceConfig) != HAL_OK)
  {
    _Error_Handler(__FILE__, __LINE__);
  }

  sMasterConfig.MasterOutputTrigger = TIM_TRGO_RESET;
  sMasterConfig.MasterOutputTrigger2 = TIM_TRGO2_RESET;
  sMasterConfig.MasterSlaveMode = TIM_MASTERSLAVEMODE_DISABLE;
  if (HAL_TIMEx_MasterConfigSynchronization(&htim1, &sMasterConfig) != HAL_OK)
  {
    _Error_Handler(__FILE__, __LINE__);
  }

}

/* TIM2 init function */
static void MX_TIM2_Init(void)
{

  TIM_ClockConfigTypeDef sClockSourceConfig;
  TIM_MasterConfigTypeDef sMasterConfig;

  htim2.Instance = TIM2;
  htim2.Init.Prescaler = 0;
  htim2.Init.CounterMode = TIM_COUNTERMODE_UP;
  htim2.Init.Period = 0;
  htim2.Init.ClockDivision = TIM_CLOCKDIVISION_DIV1;
  htim2.Init.AutoReloadPreload = TIM_AUTORELOAD_PRELOAD_DISABLE;
  if (HAL_TIM_Base_Init(&htim2) != HAL_OK)
  {
    _Error_Handler(__FILE__, __LINE__);
  }

  sClockSourceConfig.ClockSource = TIM_CLOCKSOURCE_INTERNAL;
  if (HAL_TIM_ConfigClockSource(&htim2, &sClockSourceConfig) != HAL_OK)
  {
    _Error_Handler(__FILE__, __LINE__);
  }

  sMasterConfig.MasterOutputTrigger = TIM_TRGO_RESET;
  sMasterConfig.MasterSlaveMode = TIM_MASTERSLAVEMODE_DISABLE;
  if (HAL_TIMEx_MasterConfigSynchronization(&htim2, &sMasterConfig) != HAL_OK)
  {
    _Error_Handler(__FILE__, __LINE__);
  }

}

/** Configure pins as
        * Analog
        * Input
        * Output
        * EVENT_OUT
        * EXTI
*/
static void MX_GPIO_Init(void)
{

  GPIO_InitTypeDef GPIO_InitStruct;

  /* GPIO Ports Clock Enable */
  __HAL_RCC_GPIOF_CLK_ENABLE();
  __HAL_RCC_GPIOA_CLK_ENABLE();
  __HAL_RCC_GPIOB_CLK_ENABLE();

  /*Configure GPIO pin Output Level */
  HAL_GPIO_WritePin(GPIOB, GPIO_PIN_0|GPIO_PIN_1|GPIO_PIN_6|GPIO_PIN_7, GPIO_PIN_RESET);

  /*Configure GPIO pin Output Level */
  HAL_GPIO_WritePin(GPIOA, GPIO_PIN_8|GPIO_PIN_9|GPIO_PIN_10, GPIO_PIN_RESET);

  /*Configure GPIO pins : PB0 PB1 PB6 PB7 */
  GPIO_InitStruct.Pin = GPIO_PIN_0|GPIO_PIN_1|GPIO_PIN_6|GPIO_PIN_7;
  GPIO_InitStruct.Mode = GPIO_MODE_OUTPUT_PP;
  GPIO_InitStruct.Pull = GPIO_NOPULL;
  GPIO_InitStruct.Speed = GPIO_SPEED_FREQ_LOW;
  HAL_GPIO_Init(GPIOB, &GPIO_InitStruct);

  /*Configure GPIO pins : PA8 PA9 PA10 */
  GPIO_InitStruct.Pin = GPIO_PIN_8|GPIO_PIN_9|GPIO_PIN_10;
  GPIO_InitStruct.Mode = GPIO_MODE_OUTPUT_PP;
  GPIO_InitStruct.Pull = GPIO_NOPULL;
  GPIO_InitStruct.Speed = GPIO_SPEED_FREQ_LOW;
  HAL_GPIO_Init(GPIOA, &GPIO_InitStruct);

}

void _Error_Handler(char *file, int line)
{
  while(1)
  {
  }
}

/************************ (C) COPYRIGHT STMicroelectronics *****END OF FILE****/
